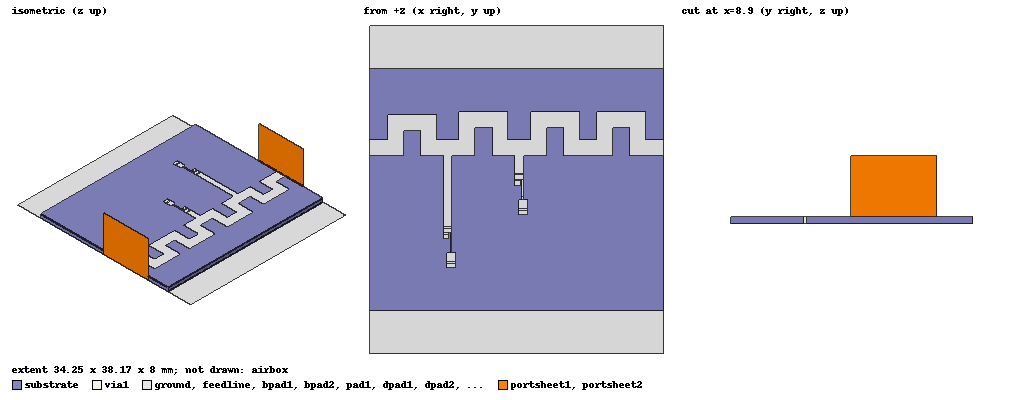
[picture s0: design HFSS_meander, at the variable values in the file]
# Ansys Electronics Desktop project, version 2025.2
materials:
  vacuum: permittivity=1
  RO4003C_338: permittivity=3.38 dielectric_loss_tangent=0.0027
  pec: conductivity=1e+30

design HFSS_meander (HFSS, HFSS Hybrid Modal Network, model units mm)
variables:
  sub_h = 0.813mm
  w50 = 1.85mm
  wstub = 1mm
  l_stub1 = 8.2mm
  l_stub2 = 2mm
  pos1 = 9.1mm
  pos2 = 17.45mm
  gap_size = 0.2mm
  pad_l = 0.5mm
  Cvar1 = 1.5pF
  Cvar2 = 0.75pF
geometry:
  substrate [RO4003C_338] = box(corner=(0mm, -18.925mm, 0mm), size=(34.25mm, 28.175mm, sub_h))
  ground = rectangle(corner=(0mm, -23.925mm, 0mm), x_size=34.25mm, y_size=38.175mm)
  airbox [vacuum] = box(corner=(0mm, -48.925mm, -37mm), size=(34.25mm, 88.175mm, sub_h+74mm))
  feedline = rectangle(corner=(0mm, 0.925mm, sub_h), x_size=3.925mm, y_size=-1.85mm)
  seg1 = rectangle(corner=(2.075mm, 3.875mm, sub_h), x_size=1.85mm, y_size=-4.8mm)
  seg2 = rectangle(corner=(2.075mm, 3.875mm, sub_h), x_size=5.7mm, y_size=-1.85mm)
  seg3 = rectangle(corner=(5.925mm, 3.875mm, sub_h), x_size=1.85mm, y_size=-4.8mm)
  seg4 = rectangle(corner=(5.925mm, 0.925mm, sub_h), x_size=6.35mm, y_size=-1.85mm)
  seg5 = rectangle(corner=(10.425mm, 4.25mm, sub_h), x_size=1.85mm, y_size=-5.175mm)
  seg6 = rectangle(corner=(10.425mm, 4.25mm, sub_h), x_size=5.7mm, y_size=-1.85mm)
  seg7 = rectangle(corner=(14.275mm, 4.25mm, sub_h), x_size=1.85mm, y_size=-5.175mm)
  seg8 = rectangle(corner=(14.275mm, 0.925mm, sub_h), x_size=6.35mm, y_size=-1.85mm)
  seg9 = rectangle(corner=(18.775mm, 4.225mm, sub_h), x_size=1.85mm, y_size=-5.15mm)
  seg10 = rectangle(corner=(18.775mm, 4.225mm, sub_h), x_size=5.7mm, y_size=-1.85mm)
  seg11 = rectangle(corner=(22.625mm, 4.225mm, sub_h), x_size=1.85mm, y_size=-5.15mm)
  seg12 = rectangle(corner=(22.625mm, 0.925mm, sub_h), x_size=5.7mm, y_size=-1.85mm)
  seg13 = rectangle(corner=(26.475mm, 4.225mm, sub_h), x_size=1.85mm, y_size=-5.15mm)
  seg14 = rectangle(corner=(26.475mm, 4.225mm, sub_h), x_size=5.7mm, y_size=-1.85mm)
  seg15 = rectangle(corner=(30.325mm, 4.225mm, sub_h), x_size=1.85mm, y_size=-5.15mm)
  seg16 = rectangle(corner=(30.325mm, 0.925mm, sub_h), x_size=3.925mm, y_size=-1.85mm)
  stub1 = rectangle(corner=(pos1-wstub/2, -w50/2, sub_h), x_size=wstub, y_size=-l_stub1)
  stub2 = rectangle(corner=(pos2-wstub/2, -w50/2, sub_h), x_size=wstub, y_size=-l_stub2)
  feedline.unite(seg1..seg16, stub1, stub2)
  gap1 = rectangle(corner=(pos1-wstub/2, -w50/2-l_stub1, sub_h), x_size=wstub, y_size=-gap_size)
  pad1 = rectangle(corner=(pos1-wstub/2, -w50/2-l_stub1-gap_size, sub_h), x_size=wstub, y_size=-pad_l)
  gapb1 = rectangle(corner=(pos1-wstub/2, -w50/2-l_stub1-gap_size-pad_l, sub_h), x_size=0.6mm, y_size=-gap_size)
  padb1 = rectangle(corner=(pos1-wstub/2, -w50/2-l_stub1-gap_size-pad_l-gap_size, sub_h), x_size=0.6mm, y_size=-pad_l)
  via1 [pec] = cylinder(axis=Z, base_centre=(pos1-0.2mm, -w50/2-l_stub1-gap_size-pad_l-gap_size-pad_l/2, 0mm), radius=0.15mm, height=sub_h)
  btrace1 = rectangle(corner=(pos1+0.3mm, -w50/2-l_stub1-gap_size-pad_l, sub_h), x_size=0.2mm, y_size=-2mm)
  gapr1 = rectangle(corner=(pos1+0.3mm, -w50/2-l_stub1-gap_size-pad_l-2mm, sub_h), x_size=0.2mm, y_size=-0.4mm)
  bpad1 = rectangle(corner=(pos1-0.1mm, -w50/2-l_stub1-gap_size-pad_l-2.4mm, sub_h), x_size=1mm, y_size=-1mm)
  gapd1 = rectangle(corner=(pos1-0.1mm, -w50/2-l_stub1-gap_size-pad_l-3.4mm, sub_h), x_size=1mm, y_size=-0.2mm)
  dpad1 = rectangle(corner=(pos1-0.1mm, -w50/2-l_stub1-gap_size-pad_l-3.6mm, sub_h), x_size=1mm, y_size=-0.5mm)
  viad1 [pec] = cylinder(axis=Z, base_centre=(pos1+0.4mm, -w50/2-l_stub1-gap_size-pad_l-3.6mm-0.25mm, 0mm), radius=0.15mm, height=sub_h)
  gap2 = rectangle(corner=(pos2-wstub/2, -w50/2-l_stub2, sub_h), x_size=wstub, y_size=-gap_size)
  pad2 = rectangle(corner=(pos2-wstub/2, -w50/2-l_stub2-gap_size, sub_h), x_size=wstub, y_size=-pad_l)
  gapb2 = rectangle(corner=(pos2-wstub/2, -w50/2-l_stub2-gap_size-pad_l, sub_h), x_size=0.6mm, y_size=-gap_size)
  padb2 = rectangle(corner=(pos2-wstub/2, -w50/2-l_stub2-gap_size-pad_l-gap_size, sub_h), x_size=0.6mm, y_size=-pad_l)
  via2 [pec] = cylinder(axis=Z, base_centre=(pos2-0.2mm, -w50/2-l_stub2-gap_size-pad_l-gap_size-pad_l/2, 0mm), radius=0.15mm, height=sub_h)
  btrace2 = rectangle(corner=(pos2+0.3mm, -w50/2-l_stub2-gap_size-pad_l, sub_h), x_size=0.2mm, y_size=-2mm)
  gapr2 = rectangle(corner=(pos2+0.3mm, -w50/2-l_stub2-gap_size-pad_l-2mm, sub_h), x_size=0.2mm, y_size=-0.4mm)
  bpad2 = rectangle(corner=(pos2-0.1mm, -w50/2-l_stub2-gap_size-pad_l-2.4mm, sub_h), x_size=1mm, y_size=-1mm)
  gapd2 = rectangle(corner=(pos2-0.1mm, -w50/2-l_stub2-gap_size-pad_l-3.4mm, sub_h), x_size=1mm, y_size=-0.2mm)
  dpad2 = rectangle(corner=(pos2-0.1mm, -w50/2-l_stub2-gap_size-pad_l-3.6mm, sub_h), x_size=1mm, y_size=-0.5mm)
  viad2 [pec] = cylinder(axis=Z, base_centre=(pos2+0.4mm, -w50/2-l_stub2-gap_size-pad_l-3.6mm-0.25mm, 0mm), radius=0.15mm, height=sub_h)
  portsheet1 = rectangle(corner=(0mm, -5mm, 0mm), y_size=10mm, z_size=8mm)
  portsheet2 = rectangle(corner=(34.25mm, -5mm, 0mm), y_size=10mm, z_size=8mm)
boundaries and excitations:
  Varactor1: Lumped RLC Objects=gap1 CurrentLine{(9.1, -9.125, 0.813) -> (9.1, -9.325, 0.813)} RLC_Type=Serial Resistance=0.6ohm Inductance=0.5nH Capacitance=Cvar1
  DCblock1: Lumped RLC Objects=gapb1 CurrentLine{(8.9, -9.825, 0.813) -> (8.9, -10.025, 0.813)} RLC_Type=Serial Resistance=0.1ohm Capacitance=100pF
  BiasRes1: Lumped RLC Objects=gapr1 CurrentLine{(9.5, -11.825, 0.813) -> (9.5, -12.225, 0.813)} RLC_Type=Serial Resistance=10kOhm
  Decap1: Lumped RLC Objects=gapd1 CurrentLine{(9.5, -13.225, 0.813) -> (9.5, -13.425, 0.813)} RLC_Type=Serial Resistance=0.1ohm Capacitance=100pF
  Varactor2: Lumped RLC Objects=gap2 CurrentLine{(17.45, -2.925, 0.813) -> (17.45, -3.125, 0.813)} RLC_Type=Serial Resistance=0.6ohm Inductance=0.5nH Capacitance=Cvar2
  DCblock2: Lumped RLC Objects=gapb2 CurrentLine{(17.25, -3.625, 0.813) -> (17.25, -3.825, 0.813)} RLC_Type=Serial Resistance=0.1ohm Capacitance=100pF
  BiasRes2: Lumped RLC Objects=gapr2 CurrentLine{(17.85, -5.625, 0.813) -> (17.85, -6.025, 0.813)} RLC_Type=Serial Resistance=10kOhm
  Decap2: Lumped RLC Objects=gapd2 CurrentLine{(17.85, -7.025, 0.813) -> (17.85, -7.225, 0.813)} RLC_Type=Serial Resistance=0.1ohm Capacitance=100pF
  PEC_metal: Perfect E Objects=[ground, feedline, pad1, padb1, btrace1, bpad1, dpad1, pad2, padb2, btrace2, bpad2, dpad2]
  Rad1: Radiation Faces=airbox.face(+z, -y, +y, -z)
  port1: Wave Port Objects=portsheet1 WavePortType=Modal NumModes=1 Modes{Mode1{IntLine{(0, 0, 0) -> (0, 0, 0.813)} CharImp=Zpi RenormImp=50ohm}}
  port2: Wave Port Objects=portsheet2 WavePortType=Modal NumModes=1 Modes{Mode1{IntLine{(34.25, 0, 0) -> (34.25, 0, 0.813)} CharImp=Zpi RenormImp=50ohm}}
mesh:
  Length1: LengthBased RefineInside Objects=[gap1, gap2, pad1, pad2] MaxLength=1.5mm
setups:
  Setup1: HfssDriven Frequency=5.5GHz MaxDeltaS=0.02 MaximumPasses=15 MinimumPasses=1 MinimumConvergedPasses=1 PercentRefinement=30 BasisOrder=1 PortAccuracy=2 DrivenSolverType="Direct Solver"
    sweep Sweep: 1GHz to 8GHz, 150 points; Type=Interpolating InterpTolerance=0.5 InterpMaxSolns=250 InterpUsePortImped=false PassivityErrorTolerance=0.0001
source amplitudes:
  port1:1: 1W 0deg
  port2:1: 0W 0deg
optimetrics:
  ParametricSetup1: Parametric Sim._Setups=[Setup1]
    sweep Cvar1: LIN 1.2pF 1.8pF 0.1pF
  ParametricSetup2: Parametric Sim._Setups=[Setup1]
    sweep Cvar2: LIN 0.5pF 0.9pF 0.1pF
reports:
  S Parameter Plot1: dB(S(port1,port1)), dB(S(port2,port1)) vs Freq on Setup1 : Sweep [Cvar1=all Cvar2=all]
